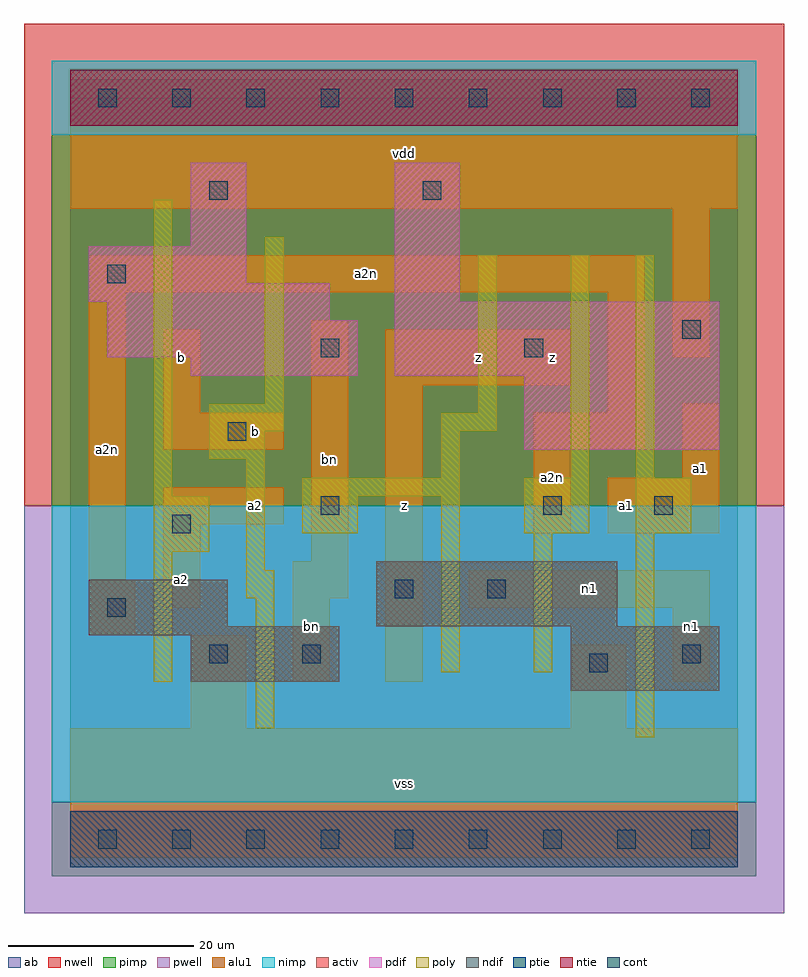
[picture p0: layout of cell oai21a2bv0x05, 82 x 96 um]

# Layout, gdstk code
import gdstk
lib = gdstk.Library(unit=1e-6, precision=1e-09)
def R(c, l, rs):  # rectangles x0, y0, x1, y1
    for r in rs: c.add(gdstk.rectangle(r[:2], r[2:], *l))
def A(c, l, x, y, w, h, nx, ny, dx, dy):  # array of equal rectangles
    R(c, l, [(x+i*dx, y+j*dy, x+i*dx+w, y+j*dy+h) for i in range(nx) for j in range(ny)])
ndif = (3, 0)
pdif = (4, 0)
ntie = (5, 0)
ptie = (6, 0)
cont = (25, 0)
pwell = (41, 0)
nwell = (42, 0)
activ = (43, 0)
pimp = (44, 0)
nimp = (45, 0)
poly = (46, 0)
alu1 = (49, 0)
ab = (63, 0)

oai21a2bv0x05 = lib.new_cell('oai21a2bv0x05')
R(oai21a2bv0x05, ndif, [(54,16,70,23), (13,17,29,22), (2,22,29,23), (2,23,17,28), (33,23,59,30)])
R(oai21a2bv0x05, pdif, [(49,42,70,50), (13,50,31,52), (35,50,70,58), (4,52,31,56), (4,56,28,58), (2,58,28,60), (35,58,42,73), (2,60,19,64), (13,64,19,73)])
R(oai21a2bv0x05, ntie, [(0,77,72,83)])
R(oai21a2bv0x05, ptie, [(0,-3,72,3)])
A(oai21a2bv0x05, cont, 3, -1, 2, 2, 9, 2, 8, 80)
R(oai21a2bv0x05, cont, [(56,18,58,20), (15,19,17,21), (25,19,27,21), (66,19,68,21), (4,24,6,26), (35,26,37,28), (45,26,47,28), (11,33,13,35), (27,35,29,37), (51,35,53,37), (63,35,65,37), (17,43,19,45), (27,52,29,54), (49,52,51,54), (66,54,68,56), (4,60,6,62), (15,69,17,71), (38,69,40,71)])
R(oai21a2bv0x05, pwell, [(-5,-8,77,36)])
R(oai21a2bv0x05, nwell, [(-5,36,77,88)])
R(oai21a2bv0x05, activ, [(0,-3,72,3), (54,16,70,23), (13,17,29,22), (2,22,29,23), (2,23,17,28), (33,23,59,30), (49,42,70,50), (13,50,31,52), (35,50,70,58), (4,52,31,56), (4,56,28,58), (2,58,28,60), (35,58,42,73), (2,60,19,64), (13,64,19,73), (0,77,72,83)])
R(oai21a2bv0x05, pimp, [(-2,-4,74,4), (-2,36,74,76)])
R(oai21a2bv0x05, nimp, [(-2,4,74,36), (-2,76,74,84)])
R(oai21a2bv0x05, poly, [(61,11,63,33), (20,12,22,26), (9,17,11,31), (40,18,42,37), (50,18,52,33), (19,26,22,29), (19,29,21,41), (9,31,15,37), (25,33,31,37), (49,33,56,39), (61,33,67,39), (9,37,11,69), (25,37,42,39), (40,39,42,44), (54,39,56,63), (61,39,63,63), (15,41,21,44), (15,44,23,47), (40,44,46,46), (44,46,46,63), (21,47,23,65)])
R(oai21a2bv0x05, alu1, [(0,-2,72,12), (13,12,19,22), (54,12,60,21), (24,17,28,26), (34,17,38,49), (65,17,69,25), (2,22,7,28), (10,25,14,34), (43,25,69,29), (24,26,30,30), (2,28,6,59), (26,30,30,56), (50,33,54,42), (58,33,70,39), (10,34,23,38), (66,39,70,47), (10,42,23,46), (50,42,62,46), (10,46,14,55), (58,46,62,59), (34,49,54,55), (65,52,69,68), (2,59,62,63), (0,68,72,82)])
R(oai21a2bv0x05, ab, [(0,0,72,80)])
oai21a2bv0x05.add(gdstk.Label('a2n', (4,42), layer=49, texttype=0))
oai21a2bv0x05.add(gdstk.Label('bn', (26,23), layer=49, texttype=0))
oai21a2bv0x05.add(gdstk.Label('bn', (28,41), layer=49, texttype=0))
oai21a2bv0x05.add(gdstk.Label('n1', (67,23), layer=49, texttype=0))
oai21a2bv0x05.add(gdstk.Label('n1', (56,27), layer=49, texttype=0))
oai21a2bv0x05.add(gdstk.Label('a2n', (52,39), layer=49, texttype=0))
oai21a2bv0x05.add(gdstk.Label('a2n', (32,61), layer=49, texttype=0))
oai21a2bv0x05.add(gdstk.Label('a2', (12,28), layer=49, texttype=0))
oai21a2bv0x05.add(gdstk.Label('b', (12,52), layer=49, texttype=0))
oai21a2bv0x05.add(gdstk.Label('a2', (20,36), layer=49, texttype=0))
oai21a2bv0x05.add(gdstk.Label('b', (20,44), layer=49, texttype=0))
oai21a2bv0x05.add(gdstk.Label('vss', (36,6), layer=49, texttype=0))
oai21a2bv0x05.add(gdstk.Label('z', (36,36), layer=49, texttype=0))
oai21a2bv0x05.add(gdstk.Label('z', (44,52), layer=49, texttype=0))
oai21a2bv0x05.add(gdstk.Label('z', (52,52), layer=49, texttype=0))
oai21a2bv0x05.add(gdstk.Label('vdd', (36,74), layer=49, texttype=0))
oai21a2bv0x05.add(gdstk.Label('a1', (60,36), layer=49, texttype=0))
oai21a2bv0x05.add(gdstk.Label('a1', (68,40), layer=49, texttype=0))

lib.write_gds('oai21a2bv0x05.gds')
